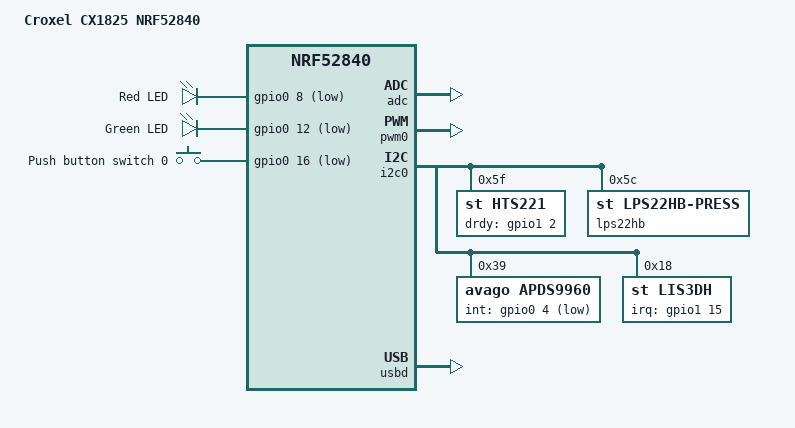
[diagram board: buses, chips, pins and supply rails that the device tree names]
/*
 * Copyright (c) 2024 Luis Ubieda
 *
 * SPDX-License-Identifier: Apache-2.0
 */

/dts-v1/;
#include <nordic/nrf52840_qiaa.dtsi>
#include "croxel_cx1825_nrf52840-pinctrl.dtsi"
#include <zephyr/dt-bindings/input/input-event-codes.h>

/ {
	model = "Croxel CX1825 NRF52840";
	compatible = "croxel,cx1825-nrf52840";

	chosen {
		zephyr,sram = &sram0;
		zephyr,flash = &flash0;
		zephyr,code-partition = &slot0_partition;
		zephyr,console = &cdc_acm_0;
		zephyr,shell-uart = &cdc_acm_0;
	};

	leds {
		compatible = "gpio-leds";
		led0: led_0 {
			gpios = <&gpio0 8 GPIO_ACTIVE_LOW>;
			label = "Red LED";
		};
		led1: led_1 {
			gpios = <&gpio0 12 GPIO_ACTIVE_LOW>;
			label = "Green LED";
		};
	};

	buttons {
		compatible = "gpio-keys";
		button0: button_0 {
			gpios = <&gpio0 16 (GPIO_PULL_UP | GPIO_ACTIVE_LOW)>;
			label = "Push button switch 0";
			zephyr,code = <INPUT_KEY_0>;
		};
	};

	/* These aliases are provided for compatibility with samples */
	aliases {
		led0 = &led0;
		led1 = &led1;
		sw0 = &button0;
		bootloader-led0 = &led0;
		mcuboot-button0 = &button0;
		mcuboot-led0 = &led0;
		watchdog0 = &wdt0;
	};
};

&adc {
	status = "okay";
};

&uicr {
	gpio-as-nreset;
};

&gpiote {
	status = "okay";
};

&gpio0 {
	status = "okay";
};

&gpio1 {
	status = "okay";
};

&pwm0 {
	status = "okay";
	pinctrl-0 = <&pwm0_default>;
	pinctrl-1 = <&pwm0_sleep>;
	pinctrl-names = "default", "sleep";
};

arduino_i2c: &i2c0 {
	compatible = "nordic,nrf-twi";
	status = "okay";
	pinctrl-0 = <&i2c0_default>;
	pinctrl-1 = <&i2c0_sleep>;
	pinctrl-names = "default", "sleep";

	hts221: hts221@5f {
		compatible = "st,hts221";
		status = "okay";
		reg = <0x5f>;
		drdy-gpios = <&gpio1 2 GPIO_ACTIVE_HIGH>;
	};

	lps22hb: lps22hb-press@5c {
		compatible = "st,lps22hb-press";
		status = "okay";
		reg = <0x5c>;
	};

	apds9960: apds9960@39 {
		compatible = "avago,apds9960";
		status = "okay";
		reg = <0x39>;
		int-gpios = <&gpio0 4 (GPIO_ACTIVE_LOW | GPIO_PULL_UP)>;
	};

	lis3dh: lis3dh@18 {
		compatible = "st,lis3dh", "st,lis2dh";
		status = "okay";
		reg = <0x18>;
		irq-gpios = <&gpio1 15 GPIO_ACTIVE_HIGH>;
	};
};

zephyr_udc0: &usbd {
	compatible = "nordic,nrf-usbd";
	status = "okay";

	cdc_acm_0: cdc_acm_0 {
		compatible = "zephyr,cdc-acm-uart";
	};
};

&flash0 {

	partitions {
		compatible = "fixed-partitions";
		#address-cells = <1>;
		#size-cells = <1>;

		boot_partition: partition@0 {
			label = "mcuboot";
			reg = <0x00000000 0x0000C000>;
		};
		slot0_partition: partition@c000 {
			label = "image-0";
			reg = <0x0000C000 0x00076000>;
		};
		slot1_partition: partition@82000 {
			label = "image-1";
			reg = <0x00082000 0x00076000>;
		};

		/*
		 * Storage partition will be used by FCB/LittleFS/NVS
		 * if enabled.
		 */
		storage_partition: partition@f8000 {
			label = "storage";
			reg = <0x000f8000 0x00008000>;
		};
	};
};
